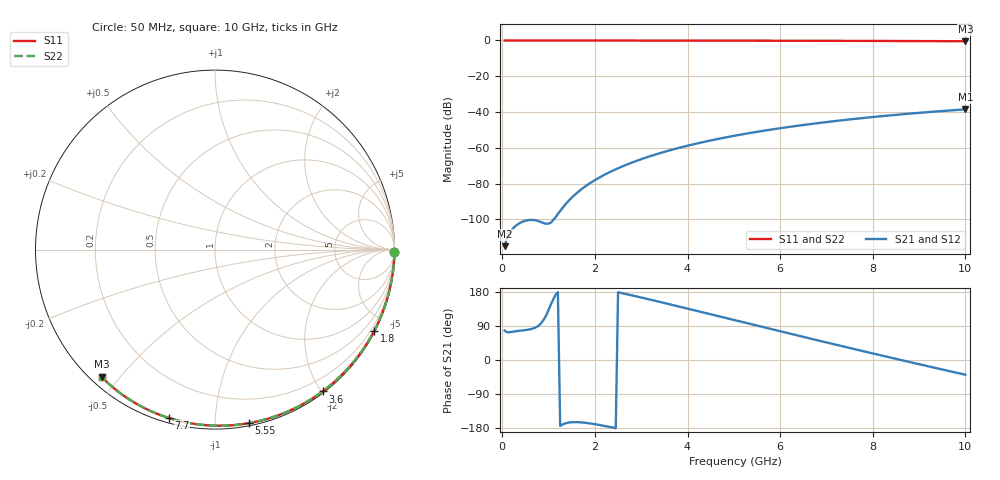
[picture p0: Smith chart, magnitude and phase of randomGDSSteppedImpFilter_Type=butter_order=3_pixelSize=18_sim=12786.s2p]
! freq	dB(S11)	phase(S11)	dB(S12)	phase(S12)
!  dB(S21)	phase(S21)	dB(S22)	phase(S22)
!S-par simulation data
#  GHz  S  DB  R 50
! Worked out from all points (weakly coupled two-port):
!   200 points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, 50 MHz to 10 GHz, reference 50 ohm
!   highest |S21| = -38.48 dB at 10 GHz (marker M1); lowest = -114.9 dB at 50 MHz (marker M2)
!   lowest |S11| = -0.4 dB at 10 GHz (marker M3), VSWR 38.82, Z = 1.55 - j22.4 ohm
!   |S11| at or under -10 dB: nowhere
!   |S22| runs from -0.4 to 0.0 dB; largest |S21 - S12| = 0
!   S11 on the Smith chart (normalised r, x): 50 MHz: open; 1.8 GHz: 0.04, -4.16; 3.6 GHz: 0.02, -2.01; 5.55 GHz: 0.02, -1.22; 7.7 GHz: 0.02, -0.76; 10 GHz: 0.03, -0.45
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0.05  -0.00 -0.8  -114.95 77.6  -114.95 77.6  -0.00 -0.8
0.9  -0.02 -13.6  -102.11 107.7  -102.11 107.7  -0.02 -13.6
1.75  -0.03 -26.3  -82.34 -165.1  -82.34 -165.1  -0.03 -26.2
1.8  -0.03 -27.0  -81.39 -165.8  -81.39 -165.8  -0.03 -27.0
1.85  -0.04 -27.7  -80.50 -166.6  -80.50 -166.6  -0.04 -27.7
1.9  -0.04 -28.5  -79.65 -167.4  -79.65 -167.4  -0.04 -28.4
2.05  -0.04 -30.7  -77.26 -170.4  -77.26 -170.4  -0.04 -30.6
2.25  -0.04 -33.6  -74.46 -175.0  -74.46 -175.0  -0.04 -33.5
2.45  -0.05 -36.5  -71.98 -180.0  -71.98 -180.0  -0.05 -36.4
2.65  -0.05 -39.4  -69.75 174.7  -69.75 174.7  -0.05 -39.3
3  -0.06 -44.4  -66.34 164.9  -66.34 164.9  -0.06 -44.3
3.4  -0.07 -50.0  -63.00 153.3  -63.00 153.3  -0.07 -49.9
3.6  -0.07 -52.8  -61.51 147.5  -61.51 147.5  -0.07 -52.7
4.3  -0.09 -62.4  -56.99 126.6  -56.99 126.6  -0.09 -62.3
5.05  -0.11 -72.4  -53.07 104.1  -53.07 104.1  -0.11 -72.3
5.55  -0.13 -78.9  -50.84 89.2  -50.84 89.2  -0.13 -78.7
6.1  -0.15 -85.8  -48.66 72.8  -48.66 72.8  -0.15 -85.7
6.7  -0.18 -93.3  -46.56 55.1  -46.56 55.1  -0.18 -93.1
7.7  -0.24 -105.3  -43.57 25.9  -43.57 25.9  -0.24 -105.1
8.35  -0.29 -112.9  -41.91 7.3  -41.91 7.3  -0.29 -112.7
9.15  -0.36 -122.1  -40.12 -15.3  -40.12 -15.3  -0.36 -121.9
10  -0.45 -131.7  -38.48 -38.8  -38.48 -38.8  -0.44 -131.5
